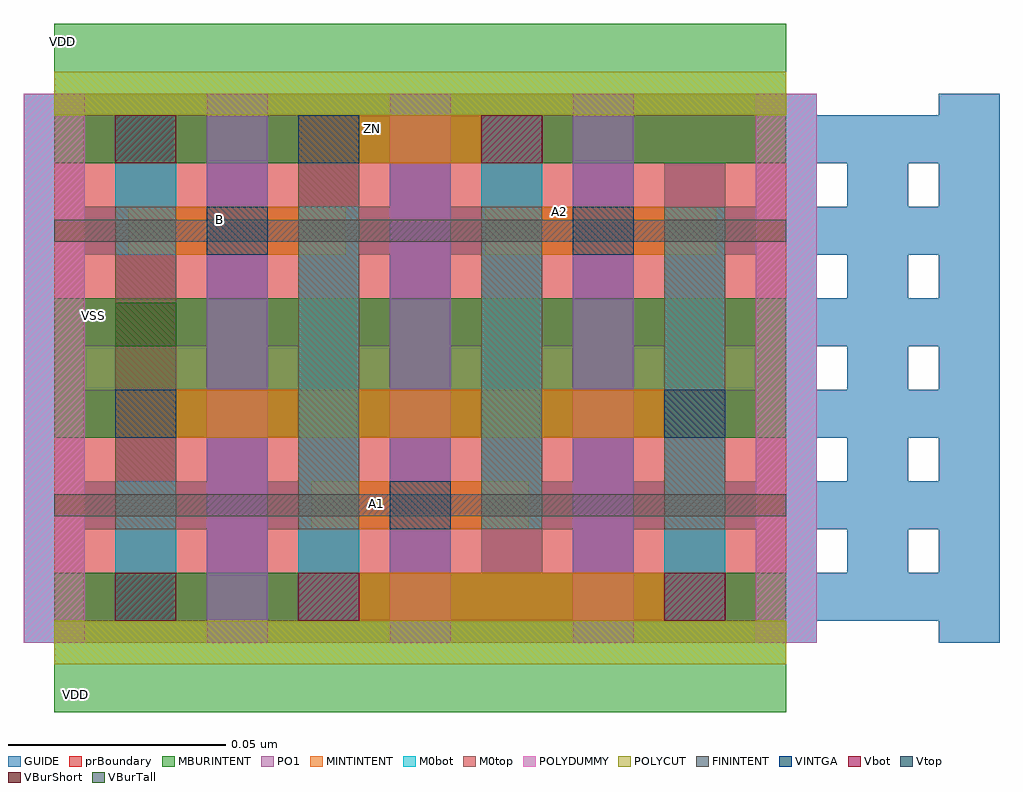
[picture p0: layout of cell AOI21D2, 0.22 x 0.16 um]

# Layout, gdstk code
import gdstk
lib = gdstk.Library(unit=1e-6, precision=1e-09)
def R(c, l, rs):  # rectangles x0, y0, x1, y1
    for r in rs: c.add(gdstk.rectangle(r[:2], r[2:], *l))
def A(c, l, x, y, w, h, nx, ny, dx, dy):  # array of equal rectangles
    R(c, l, [(x+i*dx, y+j*dy, x+i*dx+w, y+j*dy+h) for i in range(nx) for j in range(ny)])
MBURINTENT = (1, 0)
FININTENT = (2, 0)
PO1 = (10, 0)
POLYDUMMY = (11, 0)
POLYCUT = (12, 0)
M0bot = (20, 0)
M0top = (21, 0)
VBurShort = (30, 0)
VBurTall = (31, 0)
Vbot = (40, 0)
Vtop = (41, 0)
VINTGA = (42, 0)
MINTINTENT = (50, 0)
prBoundary = (100, 0)
GUIDE = (200, 0)

aoi21d2 = lib.new_cell('AOI21D2')
A(aoi21d2, MBURINTENT, 0, -0.016, 0.168, 0.032, 1, 3, 0, 0.063)
R(aoi21d2, FININTENT, [(0,0.029,0.168,0.034), (0,0.092,0.168,0.097)])
A(aoi21d2, PO1, 0.035, 0, 0.014, 0.126, 3, 1, 0.042, 0)
R(aoi21d2, POLYDUMMY, [(-0.007,0,0.007,0.126), (0.161,0,0.175,0.126)])
R(aoi21d2, POLYCUT, [(0,-0.005,0.168,0.005), (0,0.121,0.168,0.131)])
R(aoi21d2, M0bot, [(0.014,0.005,0.028,0.037), (0.056,0.005,0.07,0.1), (0.14,0.005,0.154,0.1), (0.098,0.026,0.112,0.121), (0.014,0.089,0.028,0.121)])
R(aoi21d2, M0top, [(0.014,0.026,0.028,0.1), (0.056,0.026,0.07,0.121), (0.098,0.026,0.112,0.1), (0.14,0.026,0.154,0.1)])
R(aoi21d2, VBurShort, [(0.014,0.005,0.028,0.016), (0.014,0.11,0.028,0.121)])
R(aoi21d2, VBurTall, [(0.014,0.068,0.028,0.078)])
R(aoi21d2, Vbot, [(0.056,0.005,0.07,0.016), (0.14,0.005,0.154,0.016), (0.098,0.11,0.112,0.121)])
R(aoi21d2, Vtop, [(0.014,0.047,0.028,0.058), (0.14,0.047,0.154,0.058), (0.056,0.11,0.07,0.121)])
R(aoi21d2, VINTGA, [(0.077,0.026,0.091,0.037), (0.035,0.089,0.049,0.1), (0.119,0.089,0.133,0.1)])
R(aoi21d2, MINTINTENT, [(0.056,0.005,0.154,0.016), (0.059,0.026,0.109,0.037), (0.014,0.047,0.154,0.058), (0.014,0.047,0.028,0.058), (0.014,0.047,0.028,0.058), (0.017,0.089,0.067,0.1), (0.099,0.089,0.152,0.1), (0.056,0.11,0.112,0.121)])
R(aoi21d2, prBoundary, [(0,0,0.168,0.126)])
A(aoi21d2, GUIDE, -0.007, 0, 0.014, 0.126, 6, 1, 0.042, 0)
A(aoi21d2, GUIDE, 0, 0.005, 0.21, 0.011, 1, 6, 0, 0.021)
A(aoi21d2, GUIDE, 0.014, 0.005, 0.014, 0.116, 5, 1, 0.042, 0)
aoi21d2.add(gdstk.Label('VDD', (0.002,0.138), layer=1, texttype=0))
aoi21d2.add(gdstk.Label('VSS', (0.009,0.075), layer=1, texttype=0))
aoi21d2.add(gdstk.Label('VDD', (0.005,-0.012), layer=1, texttype=0))
aoi21d2.add(gdstk.Label('T1', (-0.02,0.115), layer=200, texttype=0))
aoi21d2.add(gdstk.Label('T2', (-0.02,0.094), layer=200, texttype=0))
aoi21d2.add(gdstk.Label('T3', (-0.02,0.073), layer=200, texttype=0))
aoi21d2.add(gdstk.Label('T4', (-0.02,0.052), layer=200, texttype=0))
aoi21d2.add(gdstk.Label('T5', (-0.02,0.031), layer=200, texttype=0))
aoi21d2.add(gdstk.Label('T6', (-0.02,0.01), layer=200, texttype=0))
aoi21d2.add(gdstk.Label('S/D1', (0.021,-0.024), layer=200, texttype=0))
aoi21d2.add(gdstk.Label('S/D2', (0.063,-0.024), layer=200, texttype=0))
aoi21d2.add(gdstk.Label('S/D3', (0.105,-0.024), layer=200, texttype=0))
aoi21d2.add(gdstk.Label('S/D4', (0.147,-0.024), layer=200, texttype=0))
aoi21d2.add(gdstk.Label('S/D5', (0.189,-0.024), layer=200, texttype=0))
aoi21d2.add(gdstk.Label('ZN', (0.073,0.118), layer=50, texttype=0))
aoi21d2.add(gdstk.Label('B', (0.038,0.097), layer=42, texttype=0))
aoi21d2.add(gdstk.Label('A1', (0.074,0.032), layer=42, texttype=0))
aoi21d2.add(gdstk.Label('A2', (0.116,0.099), layer=42, texttype=0))

lib.write_gds('AOI21D2.gds')
